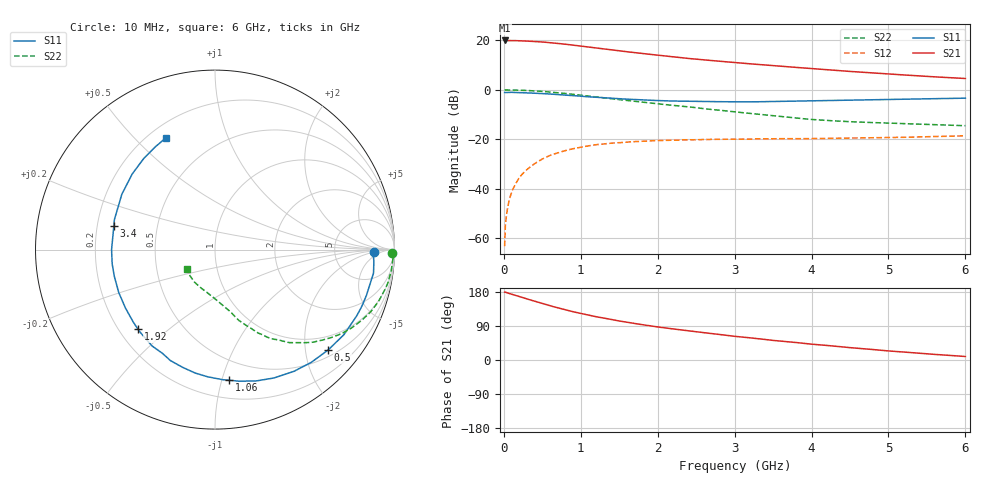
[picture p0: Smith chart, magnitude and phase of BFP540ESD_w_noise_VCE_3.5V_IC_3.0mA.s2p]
! Infineon Technologies  Discrete & RF Semiconductors
! BFP540ESD
! VCE =  3.5 V,  IC =  3.0 mA
! Common Emitter S-Parameters:  Nov 2015
# GHz  S  MA  R  50
!  f  S11  S21  S12  S22
! GHz  MAG  ANG  MAG  ANG  MAG  ANG  MAG  ANG
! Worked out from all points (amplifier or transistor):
!   210 points, 10 MHz to 6 GHz, reference 50 ohm
!   highest |S21| = 20.0 dB at 10 MHz (marker M1)
!   |S21| within 3 dB of that: start of sweep to 1.19 GHz
!   unconditionally stable (mu >= 1): 3.76 GHz to end of sweep
!   at 185 MHz: K = 0.02, MSG = 28.0 dB, |S12| = -36.2 dB
!   at 1.52 GHz: K = 0.34, MSG = 18.5 dB, |S12| = -21.3 dB
!   at 6 GHz: K = 1.31, MAG = 8.2 dB, |S12| = -18.5 dB
!   lowest NFmin = 0.63 dB at 900 MHz
!   S11 on the Smith chart (normalised r, x): 10 MHz: 16, -2; 500 MHz: 0.64, -2.49; 1.06 GHz: 0.34, -1.06; 1.92 GHz: 0.28, -0.40; 3.4 GHz: 0.27, +0.11; 6 GHz: 0.27, +0.62
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0.01  0.8847 -0.7  9.947 179.1  0.0007 77.9  0.985 -1.2
0.02  0.8824 -1.9  9.816 179.0  0.0018 82.3  0.9977 -0.9
0.035  0.8848 -3.1  9.851 177.9  0.003 81.9  0.996 -1.5
0.065  0.8886 -5.5  9.889 175.9  0.0055 82.3  0.993 -2.9
0.115  0.89 -9.6  9.89 172.9  0.0097 82.7  0.9899 -5.1
0.3  0.8716 -25.0  9.658 161.3  0.0246 78.1  0.9726 -13.2
0.5  0.8427 -41.6  9.281 149.0  0.0402 69.6  0.9334 -21.9
0.6  0.8259 -49.6  8.957 143.0  0.0475 66.1  0.9064 -25.9
0.8  0.7869 -65.4  8.361 132.4  0.0595 58.2  0.8466 -33.6
1.02  0.741 -80.8  7.601 122.0  0.0705 50.9  0.7762 -40.7
1.06  0.7324 -83.7  7.471 120.2  0.0725 49.6  0.7634 -42.0
1.2  0.7098 -93.3  7.008 114.2  0.0782 45.1  0.7214 -46.0
1.5  0.6664 -111.9  6.16 102.9  0.0858 37.6  0.6365 -53.3
1.7  0.6413 -123.1  5.67 96.3  0.0904 33.5  0.5861 -57.9
1.92  0.6172 -134.0  5.186 89.8  0.0941 29.9  0.5378 -61.3
2.02  0.607 -139.2  4.994 86.6  0.0951 28.4  0.5194 -62.9
2.42  0.586 -156.8  4.281 76.3  0.098 23.0  0.4519 -68.0
3.1  0.5739 176.7  3.46 60.6  0.1015 17.4  0.3474 -77.2
3.4  0.5792 166.6  3.175 54.1  0.1029 15.4  0.3112 -82.3
4.1  0.6058 146.9  2.623 40.2  0.1043 12.2  0.2469 -98.8
5.1  0.6471 126.4  2.049 22.5  0.1094 10.5  0.2112 -124.4
6  0.6801 113.7  1.697 9.2  0.1182 9.9  0.1895 -144.9
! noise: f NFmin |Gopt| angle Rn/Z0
0.9  0.63  0.27  45  0.15
1.8  0.89  0.21  92  0.13
2.4  0.92  0.26  109  0.1
3  1.12  0.29  144  0.09
4  1.37  0.29  -141  0.15
5  1.69  0.42  -108  0.35
6  1.9  0.55  -106  0.52
